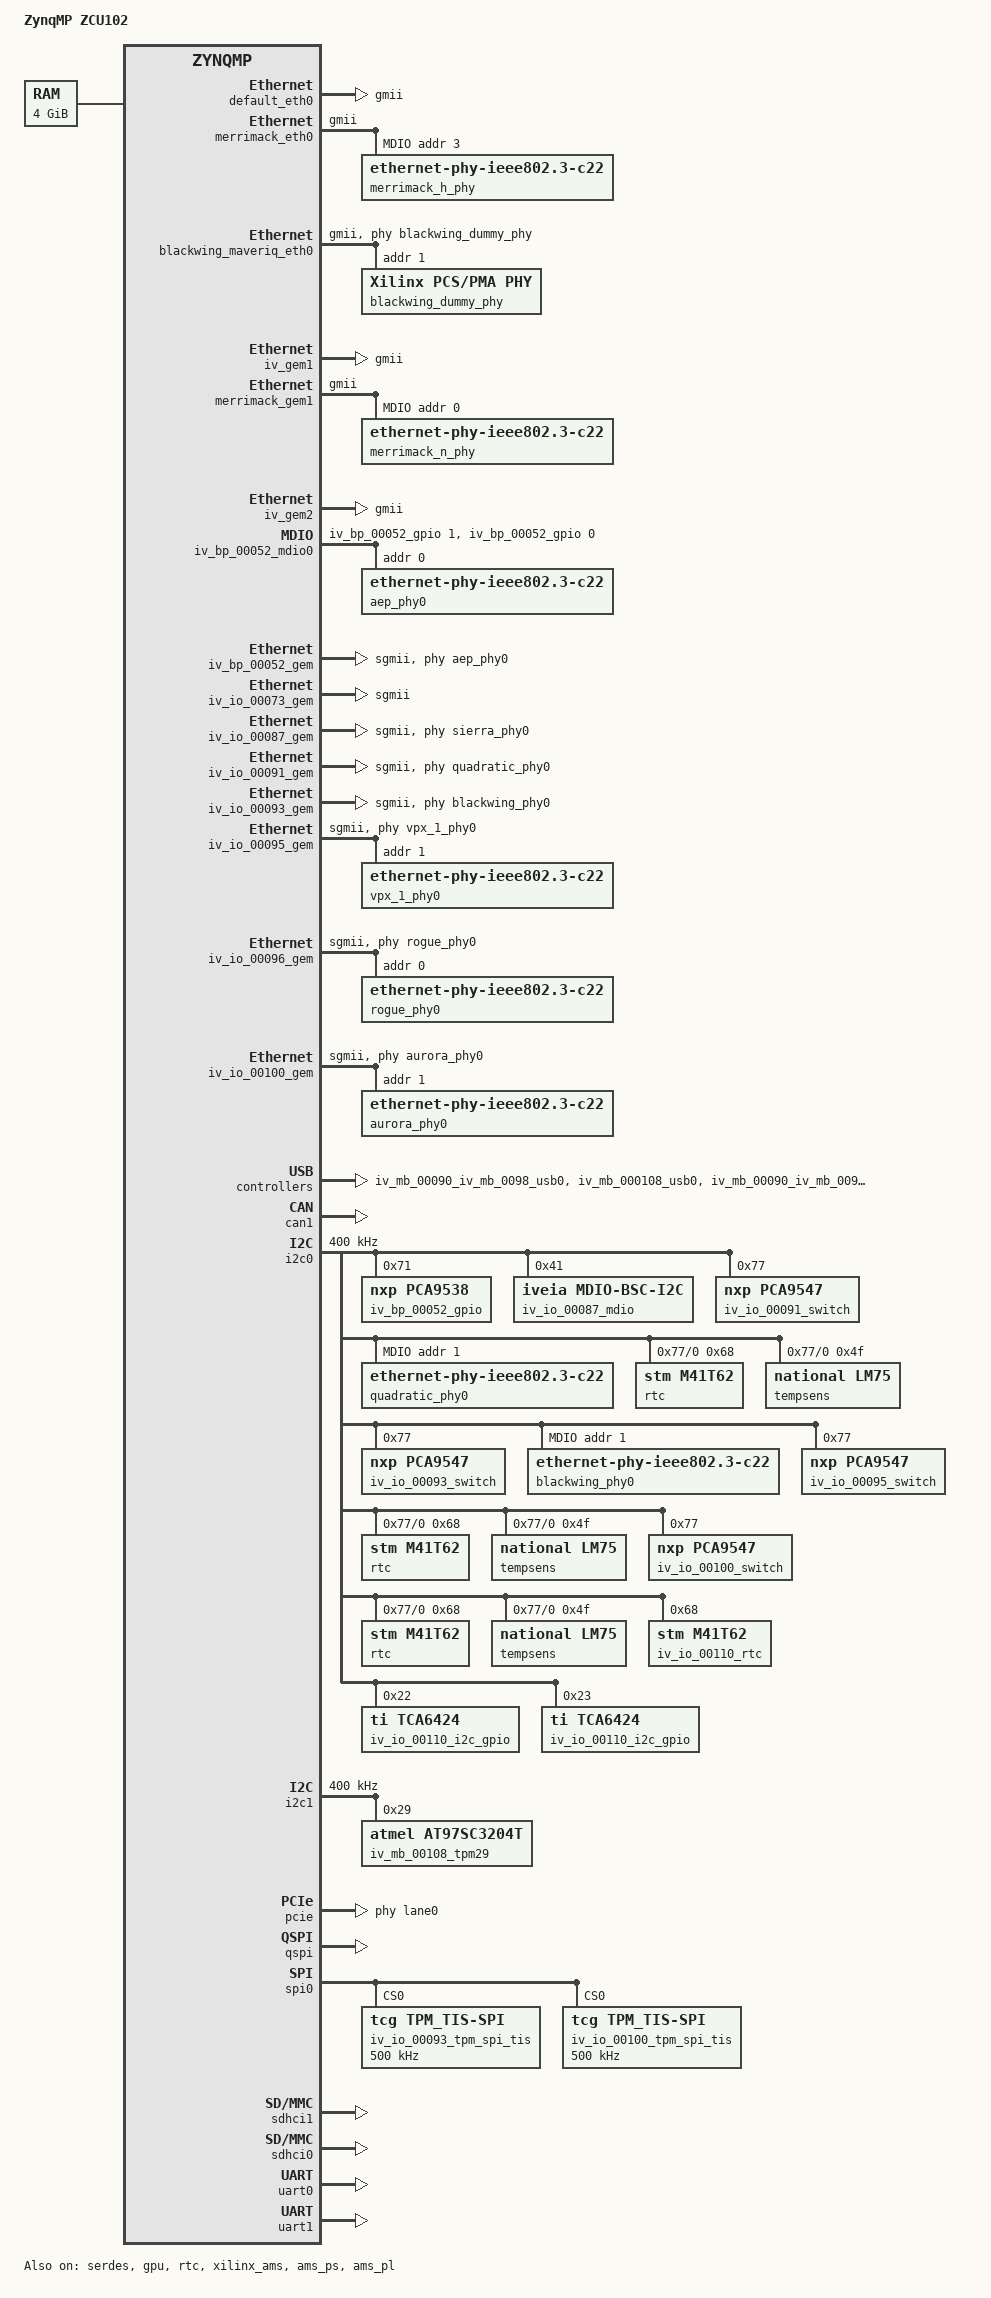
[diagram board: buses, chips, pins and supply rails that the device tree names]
/*
* dts file for iVeia Atlas-II-Z8
 *
 *
 * Patrick Cleary <pcleary@iveia.com>
 *
 * This program is free software; you can redistribute it and/or
 * modify it under the terms of the GNU General Public License as
 * published by the Free Software Foundation; either version 2 of
 * the License, or (at your option) any later version.
 */

/dts-v1/;

#include "zynqmp.dtsi"
#include "zynqmp-clk-ccf.dtsi"
#include <dt-bindings/gpio/gpio.h>
#include <dt-bindings/phy/phy.h>

/ {
	model = "ZynqMP ZCU102";
	compatible = "xlnx,zynqmp-zcu102", "xlnx,zynqmp";
	#address-cells = <2>;
	#size-cells = <1>;


	aliases {
		//ethernet0 = &gem0;
		gpio0 = &gpio;
		i2c0 = &i2c0;
		i2c1 = &i2c1;
		rtc0 = &rtc;
		serial0 = &uart0;
		serial1 = &uart1;
		spi0 = &qspi;
		//usb0 = &usb0;
		//usb1 = &iv_usb1;
	};

	chosen {
//		bootargs = "console=ttyPS1,115200n8 earlycon=cdns,mmio,0xff010000,115200n8 init=/init video=DP-1:1024x768@60 root=/dev/mmcblk0p2 rw rootfstype=ext4 drm.debug=0xf rootwait androidboot.selinux=disabled androidboot.hardware=zcu102 qemu=1";
		bootargs = "console=ttyPS1,115200n8 single root=/dev/mmcblk0p3 rw rootfstype=ext4 rootwait rw earlyprintk loglevel=9";
//		bootargs = "console=ttyPS1,115200n8 rw earlyprintk loglevel=9";
		stdout-path = "serial1:115200n8";
	};

	memory {
		device_type = "memory";
		reg = <0x0 0x0 0x80000000>, <0x8 0x00000000 0x80000000>;
	};


};


&amba {
//ETH0
	default_eth0: NOT_iv_io_00110_NOT_iv_io_00093_NOT_iv_io_00073_ethernet@ff0b0000 {
			compatible = "cdns,zynqmp-gem";
			status = "okay";
			phy-mode = "gmii";
			interrupt-parent = <&gic>;
			interrupts = <0 57 4>, <0 57 4>;
			reg = <0x0 0xff0b0000 0x0 0x1000>;
			clocks = <&clkc 45>, <&clkc 45>, <&clkc 49>;
			clock-names = "pclk", "tx_clk", "hclk";
			#address-cells = <1>;
			#size-cells = <0>;
			#stream-id-cells = <1>;
			iommus = <&smmu 0x874>;
			power-domains = <&pd_eth0>;
	};

	merrimack_eth0: iv_io_00110_ethernet@ff0b0000 {
			compatible = "cdns,zynqmp-gem";
			status = "okay";
			phy-mode = "gmii";
			interrupt-parent = <&gic>;
			interrupts = <0 57 4>, <0 57 4>;
			reg = <0x0 0xff0b0000 0x0 0x1000>;
			clocks = <&clkc 45>, <&clkc 45>, <&clkc 49>;
			clock-names = "pclk", "tx_clk", "hclk";
			#address-cells = <1>;
			#size-cells = <0>;
			#stream-id-cells = <1>;
			iommus = <&smmu 0x874>;
			power-domains = <&pd_eth0>;

			use-internal-mdio = <1>;
			mdio {
				#address-cells = <1>;
				#size-cells = <0>;
				merrimack_h_phy: phy@3 {
				compatible = "ethernet-phy-ieee802.3-c22";
				device_type = "ethernet-phy";
				reg = <3>;
				};
			};
	};

	blackwing_maveriq_eth0: iv_io_00093_iv_io_00073_gem@ff0b0000 { //USED FOR ETHERNET_SWITCH_EXAMPLE. MDIO Connected to SGMII CORE
			compatible = "cdns,zynqmp-gem";
			status = "okay";
			phy-mode = "gmii";
			interrupt-parent = <&gic>;
			interrupts = <0 57 4>, <0 57 4>;
			reg = <0x0 0xff0b0000 0x0 0x1000>;
			clocks = <&clkc 45>, <&clkc 45>, <&clkc 49>;
			clock-names = "pclk", "tx_clk", "hclk";
			#address-cells = <1>;
			#size-cells = <0>;
			#stream-id-cells = <1>;
			iommus = <&smmu 0x874>;
			power-domains = <&pd_eth0>;
	    		phy-handle = <&blackwing_dummy_phy>;
	    		blackwing_dummy_phy: phy@1 {
		    		compatible = "Xilinx PCS/PMA PHY";
		    		device_type = "ethernet-phy";
		    		xlnx,phy-type = <5>;
		    		reg = <1>;
		    	};
    	};

// ETH1
	iv_gem1: NOT_iv_io_00110_iv_ethernet@ff0c0000 {
		compatible = "cdns,zynqmp-gem";
		status = "okay";
                phy-mode = "gmii";
		interrupt-parent = <&gic>;
		interrupts = <0 59 4>, <0 59 4>;
		reg = <0x0 0xff0c0000 0x0 0x1000>;
		clocks = <&clkc 46>, <&clkc 46>, <&clkc 50>;
		clock-names = "pclk", "tx_clk", "hclk";
		#address-cells = <1>;
		#size-cells = <0>;
		#stream-id-cells = <1>;
		iommus = <&smmu 0x875>;
		power-domains = <&pd_eth1>;
	};

	merrimack_gem1: iv_io_00110_iv_ethernet@ff0c0000 {
		compatible = "cdns,zynqmp-gem";
		status = "okay";
                phy-mode = "gmii";
		interrupt-parent = <&gic>;
		interrupts = <0 59 4>, <0 59 4>;
		reg = <0x0 0xff0c0000 0x0 0x1000>;
		clocks = <&clkc 46>, <&clkc 46>, <&clkc 50>;
		clock-names = "pclk", "tx_clk", "hclk";
		#address-cells = <1>;
		#size-cells = <0>;
		#stream-id-cells = <1>;
		iommus = <&smmu 0x875>;
		power-domains = <&pd_eth1>;

		use-internal-mdio = <1>;
		mdio {
			#address-cells = <1>;
			#size-cells = <0>;
			merrimack_n_phy: phy@0 {
				compatible = "ethernet-phy-ieee802.3-c22";
				device_type = "ethernet-phy";
				reg = <0>;
			};
		};
	};


// ETH2
	iv_gem2: iv_ethernet@ff0d0000 {
		compatible = "cdns,zynqmp-gem";
		status = "okay";
       		phy-mode = "gmii";
		interrupt-parent = <&gic>;
		interrupts = <0 61 4>, <0 61 4>;
		reg = <0x0 0xff0d0000 0x0 0x1000>;
		clocks = <&clkc 47>, <&clkc 47>, <&clkc 51>;
		clock-names = "pclk", "tx_clk", "hclk";
		#address-cells = <1>;
		#size-cells = <0>;
		#stream-id-cells = <1>;
		iommus = <&smmu 0x876>;
		power-domains = <&pd_eth2>;
	};

// ETH3

    iv_bp_00052_mdio0: mdio {
	    compatible = "virtual,mdio-gpio";
	    #address-cells = <1>;
	    #size-cells = <0>;
	    gpios = < &iv_bp_00052_gpio 1 0 &iv_bp_00052_gpio 0 0 >;

        aep_phy0: phy@0 {
            compatible = "ethernet-phy-ieee802.3-c22";
            device_type = "ethernet-phy";
            reg = <0>;
        };
    };

        iv_bp_00052_gem: iv_bp_00052_ethernet@ff0e0000 {
		compatible = "cdns,zynqmp-gem";
		status = "okay";
		interrupt-parent = <&gic>;
		interrupts = <0 63 4>, <0 63 4>;
		reg = <0x0 0xff0e0000 0x0 0x1000>;
		clocks = <&clkc 31>, <&clkc 52>, <&clkc 48>, <&clkc 52>;
		clock-names = "pclk", "hclk", "tx_clk", "rx_clk";
		#address-cells = <1>;
		#size-cells = <0>;
		#stream-id-cells = <1>;
		iommus = <&smmu 0x877>;
		power-domains = <&pd_eth3>;
        phy-mode = "sgmii";
        phy-names = "sgmii-phy";

            phy-handle = <&aep_phy0>;
            use-internal-mdio = <0>;


        };

	iv_io_00073_gem: iv_io_00073_ethernet@ff0e0000 {
		compatible = "cdns,zynqmp-gem";
		status = "okay";
		interrupt-parent = <&gic>;
		interrupts = <0 63 4>, <0 63 4>;
		reg = <0x0 0xff0e0000 0x0 0x1000>;
		clocks = <&clkc 31>, <&clkc 52>, <&clkc 48>, <&clkc 52>;
		clock-names = "pclk", "hclk", "tx_clk", "rx_clk";
		#address-cells = <1>;
		#size-cells = <0>;
		#stream-id-cells = <1>;
		iommus = <&smmu 0x877>;
		power-domains = <&pd_eth3>;
		phy-mode = "sgmii";
		phy-names = "sgmii-phy";
	};

	iv_io_00087_gem: iv_io_00087_ethernet@ff0e0000 {
		compatible = "cdns,zynqmp-gem";
		status = "okay";
		interrupt-parent = <&gic>;
		interrupts = <0 63 4>, <0 63 4>;
		reg = <0x0 0xff0e0000 0x0 0x1000>;
		clocks = <&clkc 31>, <&clkc 52>, <&clkc 48>, <&clkc 52>;
		clock-names = "pclk", "hclk", "tx_clk", "rx_clk";
		#address-cells = <1>;
		#size-cells = <0>;
		#stream-id-cells = <1>;
		iommus = <&smmu 0x877>;
		power-domains = <&pd_eth3>;
		phy-mode = "sgmii";
		phy-names = "sgmii-phy";
	        phy-handle = <&sierra_phy0>;
	        use-internal-mdio = <0>;	
	};

	iv_io_00091_gem: iv_io_00091_ethernet@ff0e0000 {
		compatible = "cdns,zynqmp-gem";
		status = "okay";
		interrupt-parent = <&gic>;
		interrupts = <0 63 4>, <0 63 4>;
		reg = <0x0 0xff0e0000 0x0 0x1000>;
		clocks = <&clkc 31>, <&clkc 52>, <&clkc 48>, <&clkc 52>;
		clock-names = "pclk", "hclk", "tx_clk", "rx_clk";
		#address-cells = <1>;
		#size-cells = <0>;
		#stream-id-cells = <1>;
		iommus = <&smmu 0x877>;
		power-domains = <&pd_eth3>;
		phy-mode = "sgmii";
		phy-names = "sgmii-phy";
	        phy-handle = <&quadratic_phy0>;
	        use-internal-mdio = <0>;	
	};
		
	iv_io_00093_gem: iv_io_00093_ethernet@ff0e0000 {
		compatible = "cdns,zynqmp-gem";
		status = "okay";
		interrupt-parent = <&gic>;
		interrupts = <0 63 4>, <0 63 4>;
		reg = <0x0 0xff0e0000 0x0 0x1000>;
		clocks = <&clkc 31>, <&clkc 52>, <&clkc 48>, <&clkc 52>;
		clock-names = "pclk", "hclk", "tx_clk", "rx_clk";
		#address-cells = <1>;
		#size-cells = <0>;
		#stream-id-cells = <1>;
		iommus = <&smmu 0x877>;
		power-domains = <&pd_eth3>;
		phy-mode = "sgmii";
		phy-names = "sgmii-phy";
	        phy-handle = <&blackwing_phy0>;
	        use-internal-mdio = <0>;	
	};

    iv_io_00095_gem: iv_io_00095_ethernet@ff0e0000 {
		compatible = "cdns,zynqmp-gem";
		status = "okay";
		interrupt-parent = <&gic>;
		interrupts = <0 63 4>, <0 63 4>;
		reg = <0x0 0xff0e0000 0x0 0x1000>;
		clocks = <&clkc 31>, <&clkc 52>, <&clkc 48>, <&clkc 52>;
		clock-names = "pclk", "hclk", "tx_clk", "rx_clk";
		#address-cells = <1>;
		#size-cells = <0>;
		#stream-id-cells = <1>;
		iommus = <&smmu 0x877>;
		power-domains = <&pd_eth3>;
        phy-mode = "sgmii";
        phy-names = "sgmii-phy";

            phy-handle = <&vpx_1_phy0>;
            use-internal-mdio = <1>;

        vpx_1_phy0: phy@0 {
            compatible = "ethernet-phy-ieee802.3-c22";
            device_type = "ethernet-phy";
            reg = <1>;
        };
        };

	iv_io_00096_gem: iv_io_00096_ethernet@ff0e0000 {
		compatible = "cdns,zynqmp-gem";
		status = "okay";
		interrupt-parent = <&gic>;
		interrupts = <0 63 4>, <0 63 4>;
		reg = <0x0 0xff0e0000 0x0 0x1000>;
		clocks = <&clkc 31>, <&clkc 52>, <&clkc 48>, <&clkc 52>;
		clock-names = "pclk", "hclk", "tx_clk", "rx_clk";
		#address-cells = <1>;
		#size-cells = <0>;
		#stream-id-cells = <1>;
		iommus = <&smmu 0x877>;
		power-domains = <&pd_eth3>;
		phy-mode = "sgmii";
		phy-names = "sgmii-phy";
	        phy-handle = <&rogue_phy0>;
	        use-internal-mdio = <1>;	

        rogue_phy0: phy@0 {
            compatible = "ethernet-phy-ieee802.3-c22";
		    device_type = "ethernet-phy";
		    reg = <0>;
	    };
	};

        iv_io_00100_gem: iv_io_00100_ethernet@ff0e0000 {
		compatible = "cdns,zynqmp-gem";
		status = "okay";
		interrupt-parent = <&gic>;
		interrupts = <0 63 4>, <0 63 4>;
		reg = <0x0 0xff0e0000 0x0 0x1000>;
		clocks = <&clkc 31>, <&clkc 52>, <&clkc 48>, <&clkc 52>;
		clock-names = "pclk", "hclk", "tx_clk", "rx_clk";
		#address-cells = <1>;
		#size-cells = <0>;
		#stream-id-cells = <1>;
		iommus = <&smmu 0x877>;
		power-domains = <&pd_eth3>;
        phy-mode = "sgmii";
        phy-names = "sgmii-phy";

            phy-handle = <&aurora_phy0>;
            use-internal-mdio = <1>;

        aurora_phy0: phy@0 {
            compatible = "ethernet-phy-ieee802.3-c22";
            device_type = "ethernet-phy";
            reg = <1>;
        };
        };

		iv_mb_00090_iv_mb_0098_usb0: iv_mb_00090_iv_mb_0098_usb0 { //All boards except Atlas-III-Z8
		//iv_usb0: iv_usb0 {
			#address-cells = <2>;
			#size-cells = <2>;
			status = "okay";
			compatible = "xlnx,zynqmp-dwc3";
			reg = <0x0 0xff9d0000 0x0 0x100>;
			clock-names = "bus_clk", "ref_clk";
			#stream-id-cells = <1>;
			iommus = <&smmu 0x860>;
			power-domains = <&pd_usb0>;
			ranges;
			nvmem-cells = <&soc_revision>;
			nvmem-cell-names = "soc_revision";
            clocks = <&clkc 32>,  <&clkc 34>;

			iv_dwc3_0: iv_dwc3@fe200000 {
				compatible = "snps,dwc3";
				status = "okay";
				reg = <0x0 0xfe200000 0x0 0x40000>;
				interrupt-parent = <&gic>;
				interrupts = <0 65 4>, <0 69 4>;
				snps,quirk-frame-length-adjustment = <0x20>;
				snps,refclk_fladj;

	            dr_mode = "host";
	            snps,usb3_lpm_capable;
	            phy-names = "usb3-phy";
	            phys = <&lane0 PHY_TYPE_USB3 0 2 26000000>;

			};
		};

		iv_mb_000108_usb0: iv_mb_00108_usb0 { //Atlas-I-Z8 has different Lane setup
		//iv_usb0: iv_usb0 {
			#address-cells = <2>;
			#size-cells = <2>;
			status = "okay";
			compatible = "xlnx,zynqmp-dwc3";
			reg = <0x0 0xff9d0000 0x0 0x100>;
			clock-names = "bus_clk", "ref_clk";
			#stream-id-cells = <1>;
			iommus = <&smmu 0x860>;
			power-domains = <&pd_usb0>;
			ranges;
			nvmem-cells = <&soc_revision>;
			nvmem-cell-names = "soc_revision";
            clocks = <&clkc 32>,  <&clkc 34>;

			iv_dwc3_a1_0: iv_dwc3@fe200000 {
				compatible = "snps,dwc3";
				status = "okay";
				reg = <0x0 0xfe200000 0x0 0x40000>;
				interrupt-parent = <&gic>;
				interrupts = <0 65 4>, <0 69 4>;
				snps,quirk-frame-length-adjustment = <0x20>;
				snps,refclk_fladj;

	            dr_mode = "host";
	            snps,usb3_lpm_capable;
	            phy-names = "usb3-phy";
	            phys = <&lane0 PHY_TYPE_USB3 0 0 100000000>;

			};
		};

		iv_mb_00090_iv_mb_0098_iv_mb_00108_usb1: iv_mb_00090_iv_mb_0098_iv_mb_00108_usb1 { //All boards except Atlas-III-Z8
			#address-cells = <2>;
			#size-cells = <2>;
			status = "okay";
			compatible = "xlnx,zynqmp-dwc3";
			reg = <0x0 0xff9e0000 0x0 0x100>;
			clock-names = "bus_clk", "ref_clk";
			#stream-id-cells = <1>;
			iommus = <&smmu 0x861>;
			power-domains = <&pd_usb1>;
			ranges;
			nvmem-cells = <&soc_revision>;
			nvmem-cell-names = "soc_revision";
            clocks = <&clkc 33>,  <&clkc 34>;

			iv_dwc3_1: dwc3@fe300000 {
				compatible = "snps,dwc3";
				status = "okay";
				reg = <0x0 0xfe300000 0x0 0x40000>;
				interrupt-parent = <&gic>;
				interrupts = <0 70 4>, <0 74 4>;
				snps,quirk-frame-length-adjustment = <0x20>;
				snps,refclk_fladj;

                dr_mode = "peripheral";
                maximum-speed = "high-speed";

			};
		};

};


&pss_ref_clk {
        clock-frequency = <50000000>;
};

&fclk0 {
	status = "okay";
};

&fclk1 {
	status = "okay";
};

&fclk2 {
	status = "okay";
};

&fclk3 {
	status = "okay";
};

&serdes {
	status = "okay";
};

&can1 {
	status = "okay";
};

&gpio {
	status = "okay";
};

&gpu {
	status = "okay";
};

&i2c0 {
	status = "okay";
	clock-frequency = <400000>;

	iv_bp_00052_gpio: iv_bp_00052_i2c_gpio@71 { //Triumph AEP Module
		compatible = "nxp,pca9538";
		reg = <0x71>;
        gpio-controller;
        #gpio-cells = <2>;

	};

    iv_io_00087_mdio@41 {  //Quadratic Tri-Mode Ethernet PHY
        compatible = "iveia,mdio-bsc-i2c";
        reg = <0x41>;
        #address-cells = <1>;
        #size-cells = <0>;

        sierra_phy0: phy@1 {
            compatible = "ethernet-phy-ieee802.3-c22";
            device_type = "ethernet-phy";
            reg = <1>;
        };
    };

	iv_io_00091_switch@77 {
                compatible = "nxp,pca9547";
                #address-cells = <1>;
                #size-cells = <0>;
                reg = <0x77>;
	
		i2c@0 {
			#address-cells = <1>;
                        #size-cells = <0>;
                        reg = <0>;
	
			mdio@41 {  //Quadratic Tri-Mode Ethernet PHY
        		        compatible = "iveia,mdio-bsc-i2c";
               			 reg = <0x41>;
				#address-cells = <1>;
				#size-cells = <0>;

				quadratic_phy0: phy@1 {
					compatible = "ethernet-phy-ieee802.3-c22";
					device_type = "ethernet-phy";
					reg = <1>;
				};
           	 	};

                        rtc@68 {
                                compatible = "stm,m41t62";
                                reg = <0x68>;
                        };

                        tempsens@4f {
                                compatible = "national,lm75";
                                reg = <0x4f>;
                        };			
                };		
	};

	iv_io_00093_switch@77 {
                compatible = "nxp,pca9547";
                #address-cells = <1>;
                #size-cells = <0>;
                reg = <0x77>;
	
		i2c@0 {
			#address-cells = <1>;
                        #size-cells = <0>;
                        reg = <0>;
	
			mdio@40 {  //Blackwing Tri-Mode Ethernet PHY
        		        compatible = "iveia,mdio-bsc-i2c";
               			 reg = <0x40>;
				#address-cells = <1>;
				#size-cells = <0>;

				blackwing_phy0: phy@1 {
					compatible = "ethernet-phy-ieee802.3-c22";
					device_type = "ethernet-phy";
					reg = <1>;
				};
           	 	};

                };		
	};

/*	tsc@4a {
		reg = <0x4a>;
		compatible = "atmel,maxtouch";
		interrupt-parent = <&gic>;
		interrupts = <0 89 4>;
	};
*/

	iv_io_00095_switch@77 {
                compatible = "nxp,pca9547";
                #address-cells = <1>;
                #size-cells = <0>;
                reg = <0x77>;

		i2c@0 {
			#address-cells = <1>;
                        #size-cells = <0>;
                        reg = <0>;
	
                        rtc@68 {
                                compatible = "stm,m41t62";
                                reg = <0x68>;
                        };

                        tempsens@4f {
                                compatible = "national,lm75";
                                reg = <0x4f>;
                        };			
                };		
	};

	iv_io_00100_switch@77 {
                compatible = "nxp,pca9547";
                #address-cells = <1>;
                #size-cells = <0>;
                reg = <0x77>;
	
		i2c@0 {
			#address-cells = <1>;
                        #size-cells = <0>;
                        reg = <0>;
	
                        rtc@68 {
                                compatible = "stm,m41t62";
                                reg = <0x68>;
                        };

                        tempsens@4f {
                                compatible = "national,lm75";
                                reg = <0x4f>;
                        };			
                };		
	};

        iv_io_00110_rtc@68 {
            compatible = "stm,m41t62";
            reg = <0x68>;
        };

	iv_io_00110_i2c_gpio@22 {
		compatible = "ti,tca6424";
		reg = <0x22>;
	        gpio-controller;
	        #gpio-cells = <2>;
	};
	
	iv_io_00110_i2c_gpio@23 {
		compatible = "ti,tca6424";
		reg = <0x23>;
        	gpio-controller;
        	#gpio-cells = <2>;
	};

};

&i2c1 {
	status = "okay";
	clock-frequency = <400000>;

	iv_mb_00108_tpm29@29{
		compatible = "atmel,at97sc3204t";
 		reg = <0x29>;
 	};
};

&pcie {
	status = "okay";
	phys = <&lane0 PHY_TYPE_PCIE 0 0 100000000>;
};

&qspi {
	status = "okay";
};

&spi0 {
	status = "okay";

	iv_io_00093_tpm_spi_tis@0{
		compatible = "tcg,tpm_tis-spi";
 		reg = <0>;	/* CE0 */
 		spi-max-frequency = <500000>;
 	};

	iv_io_00100_tpm_spi_tis@0{
		compatible = "tcg,tpm_tis-spi";
 		reg = <0>;	/* CE0 */
 		spi-max-frequency = <500000>;
 	};
};

&rtc {
	status = "okay";
};

/* SD1 with level shifter */
&sdhci1 {
	status = "okay";
	no-1-8-v;
	xlnx,mio_bank = <1>;
};

&sdhci0 {
	status = "okay";
	no-1-8-v;
	xlnx,mio_bank = <0>;
};

&uart0 {
	status = "okay";
};

&uart1 {
	status = "okay";
};

&xilinx_ams {
	status = "okay";
};

&ams_ps {
	status = "okay";
};

&ams_pl {
	status = "okay";
};
